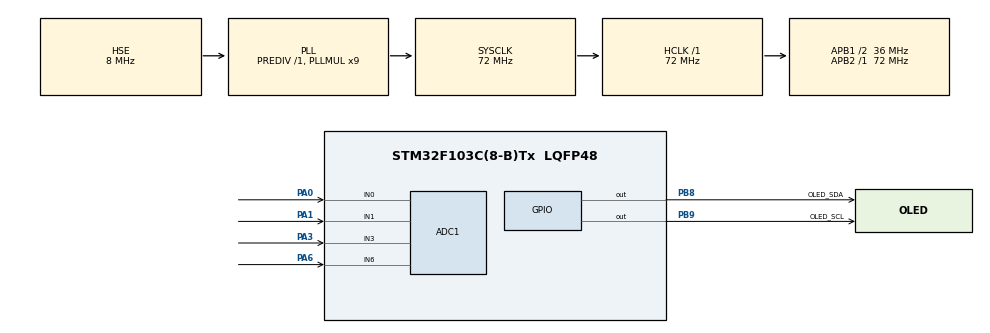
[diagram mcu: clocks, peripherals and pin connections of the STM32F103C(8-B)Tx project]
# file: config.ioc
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ADC1.Channel-2\#ChannelRegularConversion=ADC_CHANNEL_0
ADC1.Channel-3\#ChannelRegularConversion=ADC_CHANNEL_1
ADC1.Channel-4\#ChannelRegularConversion=ADC_CHANNEL_3
ADC1.Channel-5\#ChannelRegularConversion=ADC_CHANNEL_6
ADC1.ContinuousConvMode=DISABLE
ADC1.DiscontinuousConvMode=DISABLE
ADC1.NbrOfConversion=4
ADC1.NbrOfConversionFlag=1
ADC1.Rank-2\#ChannelRegularConversion=1
ADC1.Rank-3\#ChannelRegularConversion=2
ADC1.Rank-4\#ChannelRegularConversion=3
ADC1.Rank-5\#ChannelRegularConversion=4
ADC1.SamplingTime-2\#ChannelRegularConversion=ADC_SAMPLETIME_13CYCLES_5
ADC1.SamplingTime-3\#ChannelRegularConversion=ADC_SAMPLETIME_13CYCLES_5
ADC1.SamplingTime-4\#ChannelRegularConversion=ADC_SAMPLETIME_13CYCLES_5
ADC1.SamplingTime-5\#ChannelRegularConversion=ADC_SAMPLETIME_13CYCLES_5
ADC1.master=1
Dma.ADC1.0.Direction=DMA_PERIPH_TO_MEMORY
Dma.ADC1.0.Instance=DMA1_Channel1
Dma.ADC1.0.MemDataAlignment=DMA_MDATAALIGN_HALFWORD
Dma.ADC1.0.MemInc=DMA_MINC_ENABLE
Dma.ADC1.0.Mode=DMA_CIRCULAR
Dma.ADC1.0.PeriphDataAlignment=DMA_PDATAALIGN_HALFWORD
Dma.ADC1.0.PeriphInc=DMA_PINC_DISABLE
Dma.ADC1.0.Priority=DMA_PRIORITY_LOW
Dma.Request0=ADC1
Mcu.Family=STM32F1
Mcu.Name=STM32F103C(8-B)Tx
Mcu.Package=LQFP48
NVIC.DMA1_Channel1_IRQn=true\:0\:0\:false\:false\:true\:false\:true\:true
NVIC.PriorityGroup=NVIC_PRIORITYGROUP_4
PA0-WKUP.Signal=ADCx_IN0
PA1.Signal=ADCx_IN1
PA13.Mode=Serial_Wire
PA13.Signal=SYS_JTMS-SWDIO
PA14.Mode=Serial_Wire
PA14.Signal=SYS_JTCK-SWCLK
PA3.Signal=ADCx_IN3
PA6.Signal=ADCx_IN6
PB8.GPIO_Label=OLED_SDA
PB8.GPIO_ModeDefaultOutputPP=GPIO_MODE_OUTPUT_OD
PB8.GPIO_PuPd=GPIO_NOPULL
PB8.GPIO_Speed=GPIO_SPEED_FREQ_HIGH
PB8.PinState=GPIO_PIN_SET
PB8.Signal=GPIO_Output
PB9.GPIO_Label=OLED_SCL
PB9.GPIO_ModeDefaultOutputPP=GPIO_MODE_OUTPUT_OD
PB9.GPIO_PuPd=GPIO_NOPULL
PB9.GPIO_Speed=GPIO_SPEED_FREQ_HIGH
PB9.PinState=GPIO_PIN_SET
PB9.Signal=GPIO_Output
PD0-OSC_IN.Mode=HSE-External-Oscillator
PD0-OSC_IN.Signal=RCC_OSC_IN
PD1-OSC_OUT.Mode=HSE-External-Oscillator
PD1-OSC_OUT.Signal=RCC_OSC_OUT
ProjectManager.HeapSize=0x200
ProjectManager.StackSize=0x400
ProjectManager.TargetToolchain=CMake
RCC.ADCPresc=RCC_ADCPCLK2_DIV6
RCC.AHBFreq_Value=72000000
RCC.APB1CLKDivider=RCC_HCLK_DIV2
RCC.APB1Freq_Value=36000000
RCC.APB1TimFreq_Value=72000000
RCC.APB2Freq_Value=72000000
RCC.APB2TimFreq_Value=72000000
RCC.HCLKFreq_Value=72000000
RCC.PLLMUL=RCC_PLL_MUL9
RCC.PLLSourceVirtual=RCC_PLLSOURCE_HSE
RCC.SYSCLKFreq_VALUE=72000000
RCC.SYSCLKSource=RCC_SYSCLKSOURCE_PLLCLK
RCC.USBFreq_Value=72000000
SH.ADCx_IN0.0=ADC1_IN0,IN0
SH.ADCx_IN1.0=ADC1_IN1,IN1
SH.ADCx_IN3.0=ADC1_IN3,IN3
SH.ADCx_IN6.0=ADC1_IN6,IN6
board=custom

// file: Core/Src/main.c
/* USER CODE BEGIN Header */
/**
******************************************************************************
* @file           : main.c
* @brief          : Main program body
******************************************************************************
* @attention
*
* Copyright (c) 2026 STMicroelectronics.
* All rights reserved.
*
* This software is licensed under terms that can be found in the LICENSE file
* in the root directory of this software component.
* If no LICENSE file comes with this software, it is provided AS-IS.
*
******************************************************************************
*/
/* USER CODE END Header */
#include "main.h"
#include "adc.h"
#include "dma.h"
#include "gpio.h"

/* USER CODE BEGIN Includes */
#include "OLED.h"
#include "stm32f1xx_hal_adc.h"
#include "stm32f1xx_hal_adc_ex.h"
#include "stm32f1xx_hal_def.h"
#include <math.h>
#include <stdint.h>
/* USER CODE END Includes */

/* USER CODE BEGIN PV */
uint16_t ADCValue[4] = {0};

/* USER CODE END PV */

void SystemClock_Config(void);

int main(void)
{

  /* MCU Configuration--------------------------------------------------------*/

  /* Reset of all peripherals, Initializes the Flash interface and the Systick. */
  HAL_Init();

  /* Configure the system clock */
  SystemClock_Config();

  /* Initialize all configured peripherals */
  MX_GPIO_Init();
  MX_DMA_Init();
  MX_ADC1_Init();
  /* USER CODE BEGIN 2 */
  OLED_Init();
  OLED_Clear();

  HAL_ADCEx_Calibration_Start(&hadc1);

  OLED_ShowString(1, 1, "ADC_PA0 = ");
  OLED_ShowString(2, 1, "ADC_PA1 = ");
  OLED_ShowString(3, 1, "ADC_PA3 = ");
  OLED_ShowString(4, 1, "ADC_PA6 = ");

  HAL_ADC_Start_DMA(&hadc1,(uint32_t*)ADCValue,4);  /* Start ADC with interrupt mode */

  /* USER CODE END 2 */

  /* Infinite loop */
  /* USER CODE BEGIN WHILE */
  while (1)
  {
    OLED_ShowNum(1, 11, ADCValue[0], 4);
    OLED_ShowNum(2, 11, ADCValue[1], 4);
    OLED_ShowNum(3, 11, ADCValue[2], 4);
    OLED_ShowNum(4, 11, ADCValue[3], 4);

    HAL_Delay(500);
    /* USER CODE END WHILE */

  }
}

void SystemClock_Config(void)
{
  RCC_OscInitTypeDef RCC_OscInitStruct = {0};
  RCC_ClkInitTypeDef RCC_ClkInitStruct = {0};
  RCC_PeriphCLKInitTypeDef PeriphClkInit = {0};

  /** Initializes the RCC Oscillators according to the specified parameters
  * in the RCC_OscInitTypeDef structure.
  */
  RCC_OscInitStruct.OscillatorType = RCC_OSCILLATORTYPE_HSE;
  RCC_OscInitStruct.HSEState = RCC_HSE_ON;
  RCC_OscInitStruct.HSEPredivValue = RCC_HSE_PREDIV_DIV1;
  RCC_OscInitStruct.HSIState = RCC_HSI_ON;
  RCC_OscInitStruct.PLL.PLLState = RCC_PLL_ON;
  RCC_OscInitStruct.PLL.PLLSource = RCC_PLLSOURCE_HSE;
  RCC_OscInitStruct.PLL.PLLMUL = RCC_PLL_MUL9;
  if (HAL_RCC_OscConfig(&RCC_OscInitStruct) != HAL_OK)
  {
    Error_Handler();
  }

  /** Initializes the CPU, AHB and APB buses clocks
  */
  RCC_ClkInitStruct.ClockType = RCC_CLOCKTYPE_HCLK|RCC_CLOCKTYPE_SYSCLK
  |RCC_CLOCKTYPE_PCLK1|RCC_CLOCKTYPE_PCLK2;
  RCC_ClkInitStruct.SYSCLKSource = RCC_SYSCLKSOURCE_PLLCLK;
  RCC_ClkInitStruct.AHBCLKDivider = RCC_SYSCLK_DIV1;
  RCC_ClkInitStruct.APB1CLKDivider = RCC_HCLK_DIV2;
  RCC_ClkInitStruct.APB2CLKDivider = RCC_HCLK_DIV1;

  if (HAL_RCC_ClockConfig(&RCC_ClkInitStruct, FLASH_LATENCY_2) != HAL_OK)
  {
    Error_Handler();
  }
  PeriphClkInit.PeriphClockSelection = RCC_PERIPHCLK_ADC;
  PeriphClkInit.AdcClockSelection = RCC_ADCPCLK2_DIV6;
  if (HAL_RCCEx_PeriphCLKConfig(&PeriphClkInit) != HAL_OK)
  {
    Error_Handler();
  }
}

/* USER CODE BEGIN 4 */
void HAL_ADC_ConvCpltCallback(ADC_HandleTypeDef* hadc)
{
  if (hadc == &hadc1)
  {
    HAL_ADC_Start_DMA(&hadc1,(uint32_t*)ADCValue,4);
  }
}
/* USER CODE END 4 */

void Error_Handler(void)
{
  __disable_irq();
  while (1)
  {
  }
}
